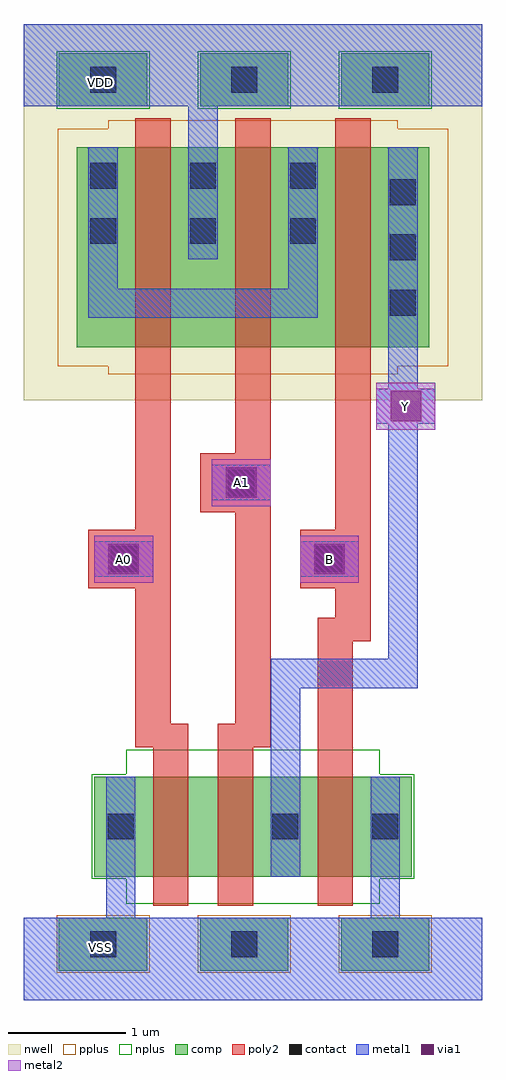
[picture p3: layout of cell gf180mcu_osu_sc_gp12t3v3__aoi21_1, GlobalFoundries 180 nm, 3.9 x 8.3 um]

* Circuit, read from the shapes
.subckt gf180mcu_osu_sc_gp12t3v3__aoi21_1 A0 A1 B VDD VSS Y
XM1 n1 A0 VSS VSS nfet_03v3 w=0.85u l=0.3u
XM2 Y A1 n1 VSS nfet_03v3 w=0.85u l=0.3u
XM3 VSS B Y VSS nfet_03v3 w=0.85u l=0.3u
XM4 VDD A0 n2 VDD pfet_03v3 w=1.7u l=0.3u
XM5 n2 A1 VDD VDD pfet_03v3 w=1.7u l=0.3u
XM6 Y B n2 VDD pfet_03v3 w=1.7u l=0.3u
.ends

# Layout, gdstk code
import gdstk
lib = gdstk.Library(unit=1e-6, precision=1e-09)
def R(c, l, rs):  # rectangles x0, y0, x1, y1
    for r in rs: c.add(gdstk.rectangle(r[:2], r[2:], *l))
def A(c, l, x, y, w, h, nx, ny, dx, dy):  # array of equal rectangles
    R(c, l, [(x+i*dx, y+j*dy, x+i*dx+w, y+j*dy+h) for i in range(nx) for j in range(ny)])
nwell = (21, 0)
comp = (22, 0)
poly2 = (30, 0)
pplus = (31, 0)
nplus = (32, 0)
contact = (33, 0)
metal1 = (34, 0)
via1 = (35, 0)
metal2 = (36, 0)

gf180mcu_osu_sc_gp12t3v3 = lib.new_cell('gf180mcu_osu_sc_gp12t3v3__aoi21_1')
R(gf180mcu_osu_sc_gp12t3v3, nwell, [(0,5.1,3.9,8.3)])
A(gf180mcu_osu_sc_gp12t3v3, comp, 0.3, 0.25, 0.75, 0.45, 3, 2, 1.2, 7.35)
R(gf180mcu_osu_sc_gp12t3v3, comp, [(0.6,1.05,3.3,1.9), (0.45,5.55,3.45,7.25)])
R(gf180mcu_osu_sc_gp12t3v3, poly2, [(1.1,0.8,1.4,2.15), (1.65,0.8,1.95,2.15), (2.5,0.8,2.8,3.05), (0.95,2.15,1.4,2.35), (1.65,2.15,2.1,2.35), (0.95,2.35,1.25,3.5), (1.8,2.35,2.1,4.15), (2.5,3.05,2.95,3.25), (2.65,3.25,2.95,3.5), (0.55,3.5,1.25,4), (2.35,3.5,2.95,4), (0.95,4,1.25,7.5), (2.65,4,2.95,7.5), (1.5,4.15,2.1,4.65), (1.8,4.65,2.1,7.5)])
A(gf180mcu_osu_sc_gp12t3v3, pplus, 0.28, 0.23, 0.79, 0.49, 3, 1, 1.2, 0)
R(gf180mcu_osu_sc_gp12t3v3, pplus, [(0.72,5.32,3.18,5.39), (0.29,5.39,3.61,7.41), (0.72,7.41,3.18,7.48)])
A(gf180mcu_osu_sc_gp12t3v3, nplus, 0.28, 7.58, 0.79, 0.49, 3, 1, 1.2, 0)
R(gf180mcu_osu_sc_gp12t3v3, nplus, [(0.87,0.82,3.03,1.03), (0.58,1.03,3.32,1.92), (0.87,1.92,3.03,2.13)])
A(gf180mcu_osu_sc_gp12t3v3, contact, 0.565, 0.365, 0.22, 0.22, 3, 2, 1.2, 7.35)
A(gf180mcu_osu_sc_gp12t3v3, contact, 3.115, 5.82, 0.22, 0.22, 1, 3, 0, 0.47)
A(gf180mcu_osu_sc_gp12t3v3, contact, 0.565, 6.43, 0.22, 0.22, 3, 2, 0.85, 0.47)
R(gf180mcu_osu_sc_gp12t3v3, contact, [(0.715,1.365,0.935,1.585), (2.115,1.365,2.335,1.585), (2.965,1.365,3.185,1.585), (0.74,3.64,0.96,3.86), (2.49,3.64,2.71,3.86), (1.74,4.29,1.96,4.51)])
R(gf180mcu_osu_sc_gp12t3v3, metal1, [(0,0,3.9,0.7), (0.7,0.7,0.95,1.9), (2.95,0.7,3.2,1.9), (2.1,1.05,2.35,2.65), (2.1,2.65,3.35,2.9), (3.1,2.9,3.35,4.9), (0.6,3.6,1.1,3.9), (2.35,3.6,2.85,3.9), (1.6,4.25,2.1,4.55), (3,4.9,3.5,5.2), (3.1,5.2,3.35,7.25), (0.55,5.8,2.5,6.05), (0.55,6.05,0.8,7.25), (2.25,6.05,2.5,7.25), (1.4,6.3,1.65,7.6), (0,7.6,3.9,8.3)])
R(gf180mcu_osu_sc_gp12t3v3, via1, [(0.72,3.62,0.98,3.88), (2.47,3.62,2.73,3.88), (1.72,4.27,1.98,4.53), (3.12,4.92,3.38,5.18)])
R(gf180mcu_osu_sc_gp12t3v3, metal2, [(0.6,3.55,1.1,3.95), (2.35,3.55,2.85,3.95), (1.6,4.2,2.1,4.6), (3,4.85,3.5,5.25)])
gf180mcu_osu_sc_gp12t3v3.add(gdstk.Label('A0', (0.85,3.75), layer=36, texttype=10))
gf180mcu_osu_sc_gp12t3v3.add(gdstk.Label('A1', (1.85,4.4), layer=36, texttype=10))
gf180mcu_osu_sc_gp12t3v3.add(gdstk.Label('B', (2.6,3.75), layer=36, texttype=10))
gf180mcu_osu_sc_gp12t3v3.add(gdstk.Label('Y', (3.25,5.05), layer=36, texttype=10))
gf180mcu_osu_sc_gp12t3v3.add(gdstk.Label('VDD', (0.65,7.8), layer=34, texttype=10))
gf180mcu_osu_sc_gp12t3v3.add(gdstk.Label('VSS', (0.65,0.45), layer=34, texttype=10))

lib.write_gds('gf180mcu_osu_sc_gp12t3v3__aoi21_1.gds')
